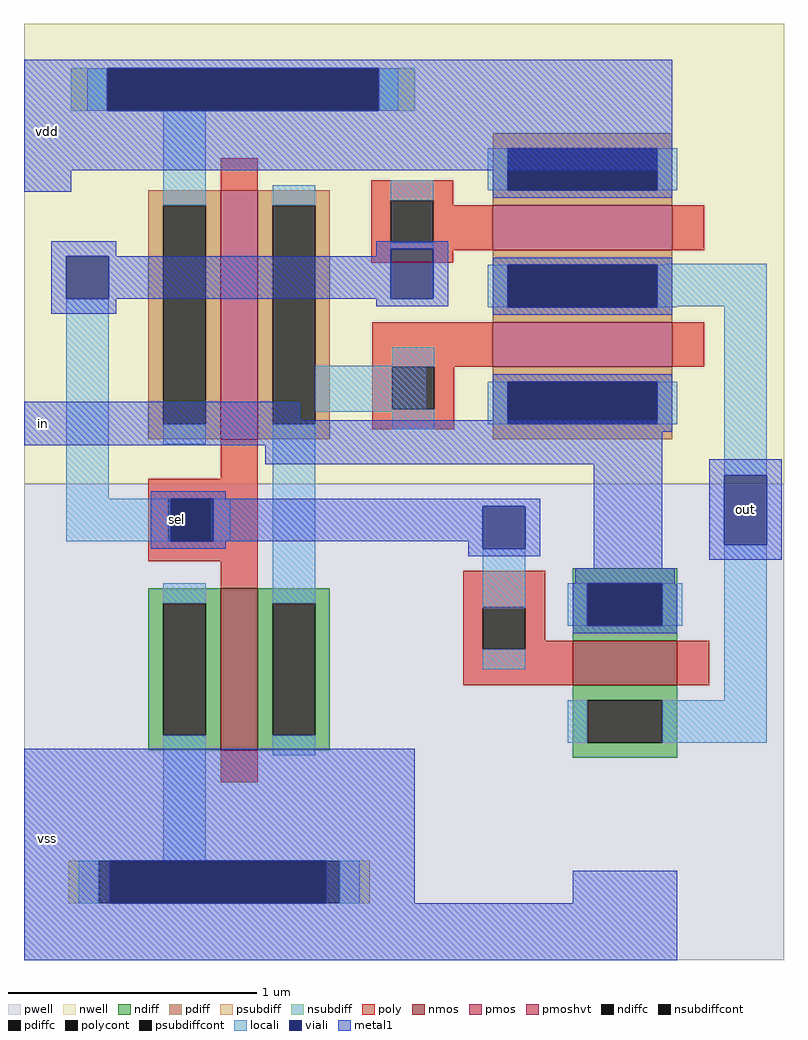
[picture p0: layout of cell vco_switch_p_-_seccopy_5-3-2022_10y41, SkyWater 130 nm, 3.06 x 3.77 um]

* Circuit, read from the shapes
.subckt vco_switch_p_-_seccopy_5-3-2022_10y41 in sel out vss vdd
XM1 n1 sel vss vss sky130_fd_pr__nfet_01v8 w=0.65 l=0.15
XM2 in sel out vss sky130_fd_pr__nfet_01v8 w=0.42 l=0.18
XM3 n1 sel vdd vdd sky130_fd_pr__pfet_01v8_hvt w=1 l=0.15
XM4 out n1 in vdd sky130_fd_pr__pfet_01v8 w=0.72 l=0.18
XM5 vdd sel out vdd sky130_fd_pr__pfet_01v8 w=0.72 l=0.18
.ends

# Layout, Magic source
magic
tech sky130A
magscale 1 2
<< nwell >>
rect 376 952 987 1215
rect 376 845 932 952
rect 934 845 987 952
<< pwell >>
rect 376 462 987 845
<< psubdiff >>
rect 412 508 436 542
rect 630 508 654 542
<< nsubdiff >>
rect 414 1145 443 1179
rect 661 1145 690 1179
<< psubdiffcont >>
rect 436 508 630 542
<< nsubdiffcont >>
rect 443 1145 661 1179
<< poly >>
rect 655 1073 721 1089
rect 655 1039 671 1073
rect 705 1069 721 1073
rect 705 1039 727 1069
rect 655 1033 727 1039
rect 655 1023 721 1033
<< polycont >>
rect 671 1039 705 1073
<< locali >>
rect 427 1145 443 1179
rect 661 1145 677 1179
rect 488 1085 522 1145
rect 671 1073 705 1089
rect 671 1034 705 1039
rect 410 833 444 994
rect 891 988 973 1022
rect 610 903 699 940
rect 410 799 494 833
rect 576 765 610 877
rect 939 852 973 988
rect 745 745 779 793
rect 939 671 973 796
rect 899 637 973 671
rect 488 542 522 627
rect 420 508 436 542
rect 630 508 646 542
<< viali >>
rect 443 1145 661 1179
rect 410 994 444 1028
rect 671 994 705 1034
rect 494 799 528 833
rect 745 793 779 827
rect 939 796 973 852
rect 829 731 889 765
rect 445 508 619 542
<< metal1 >>
rect 376 1179 897 1186
rect 376 1145 443 1179
rect 661 1145 897 1179
rect 376 1097 897 1145
rect 376 1080 414 1097
rect 398 1028 450 1040
rect 659 1034 717 1040
rect 659 1028 671 1034
rect 398 994 410 1028
rect 444 994 671 1028
rect 705 994 717 1034
rect 398 982 450 994
rect 659 988 717 994
rect 376 896 598 911
rect 376 876 889 896
rect 570 861 889 876
rect 478 833 538 839
rect 478 799 494 833
rect 528 827 791 833
rect 528 799 745 827
rect 478 793 538 799
rect 733 793 745 799
rect 779 793 791 827
rect 733 787 791 793
rect 834 777 889 861
rect 927 852 985 865
rect 927 796 939 852
rect 973 796 985 852
rect 927 784 985 796
rect 819 765 899 777
rect 817 731 829 765
rect 889 764 899 765
rect 889 731 901 764
rect 817 725 901 731
rect 376 542 690 632
rect 376 508 445 542
rect 619 508 690 542
rect 817 508 901 534
rect 376 462 901 508
use sky130_fd_pr__nfet_01v8_HGTGXE_v2  sky130_fd_pr__nfet_01v8_HGTGXE_v2_0
transform 0 -1 828 1 0 701
box -76 -99 76 99
use sky130_fd_pr__pfet_01v8_5YXW2B  sky130_fd_pr__pfet_01v8_5YXW2B_0
transform 0 -1 825 1 0 1051
box -112 -134 112 134
use sky130_fd_pr__pfet_01v8_ACAZ2B_v2  sky130_fd_pr__pfet_01v8_ACAZ2B_v2_0
transform 0 -1 789 1 0 957
box -112 -170 112 136
use sky130_fd_pr__pfet_01v8_hvt_N83GLL  sky130_fd_pr__pfet_01v8_hvt_N83GLL_0
transform 1 0 549 0 1 981
box -109 -136 109 162
use sky130_fd_pr__nfet_01v8_M34CP3  sky130_fd_pr__nfet_01v8_M34CP3_0
transform 1 0 549 0 1 727
box -73 -122 73 122
<< labels >>
rlabel metal1 376 876 407 911 1 in
port 0 n
rlabel metal1 376 488 414 632 1 vss
port 3 n
rlabel nwell 376 1080 414 1176 1 vdd
port 4 n
rlabel metal1 927 784 985 865 1 out
port 2 n
rlabel metal1 478 793 520 839 1 sel
port 1 n
<< end >>

# cell sky130_fd_pr__nfet_01v8_HGTGXE_v2: kit device sky130_fd_pr__nfet_01v8, w 0.42 l 0.18 m 1 nf 1 diffcov 100 polycov 100 guard 0 glc 0 grc 0 gtc 0 gbc 0 tbcov 100 rlcov 100 topc 1 botc 0 poverlap 0 doverlap 1 lmin 0.15 wmin 0.42 compatible {sky130_fd_pr__nfet_01v8 sky130_fd_pr__nfet_01v8_lvt sky130_fd_bs_flash__special_sonosfet_star sky130_fd_pr__nfet_g5v0d10v5 sky130_fd_pr__nfet_05v0_nvt sky130_fd_pr__nfet_03v3_nvt} full_metal 0 viasrc 100 viadrn 100 viagate 100 viagb 0 viagr 0 viagl 0 viagt 0

# cell sky130_fd_pr__pfet_01v8_5YXW2B: kit device sky130_fd_pr__pfet_01v8, w 0.72 l 0.18 m 1 nf 1 diffcov 100 polycov 100 guard 0 glc 0 grc 0 gtc 0 gbc 0 tbcov 100 rlcov 100 topc 0 botc 0 poverlap 0 doverlap 1 lmin 0.15 wmin 0.42 compatible {sky130_fd_pr__pfet_01v8 sky130_fd_pr__pfet_01v8_lvt sky130_fd_pr__pfet_01v8_hvt sky130_fd_pr__pfet_g5v0d10v5} full_metal 0 viasrc 100 viadrn 100 viagate 100 viagb 0 viagr 0 viagl 0 viagt 0

# cell sky130_fd_pr__pfet_01v8_ACAZ2B_v2: kit device sky130_fd_pr__pfet_01v8, w 0.72 l 0.18 m 1 nf 1 diffcov 100 polycov 100 guard 0 glc 0 grc 0 gtc 0 gbc 0 tbcov 100 rlcov 100 topc 1 botc 0 poverlap 0 doverlap 1 lmin 0.15 wmin 0.42 compatible {sky130_fd_pr__pfet_01v8 sky130_fd_pr__pfet_01v8_lvt sky130_fd_pr__pfet_01v8_hvt sky130_fd_pr__pfet_g5v0d10v5} full_metal 0 viasrc 100 viadrn 100 viagate 100 viagb 0 viagr 0 viagl 0 viagt 0

# cell sky130_fd_pr__pfet_01v8_hvt_N83GLL: kit device sky130_fd_pr__pfet_01v8_hvt, w 1 l 0.15 m 1 nf 1 diffcov 100 polycov 100 guard 0 glc 0 grc 0 gtc 0 gbc 0 tbcov 100 rlcov 100 topc 0 botc 0 poverlap 0 doverlap 1 lmin 0.15 wmin 0.42 compatible {sky130_fd_pr__pfet_01v8 sky130_fd_pr__pfet_01v8_lvt sky130_fd_pr__pfet_01v8_hvt sky130_fd_pr__pfet_g5v0d10v5} full_metal 0 viasrc 0 viadrn 0 viagate 0 viagb 0 viagr 0 viagl 0 viagt 0

# cell sky130_fd_pr__nfet_01v8_M34CP3: kit device sky130_fd_pr__nfet_01v8, w 0.650 l 0.150 m 1 nf 1 diffcov 100 polycov 100 guard 0 glc 0 grc 0 gtc 0 gbc 0 tbcov 100 rlcov 100 topc 1 botc 0 poverlap 0 doverlap 1 lmin 0.15 wmin 0.42 compatible {sky130_fd_pr__nfet_01v8 sky130_fd_pr__nfet_01v8_lvt sky130_fd_bs_flash__special_sonosfet_star sky130_fd_pr__nfet_g5v0d10v5 sky130_fd_pr__nfet_05v0_nvt sky130_fd_pr__nfet_03v3_nvt} full_metal 0 viasrc 0 viadrn 0 viagate 0 viagb 0 viagr 0 viagl 0 viagt 0
